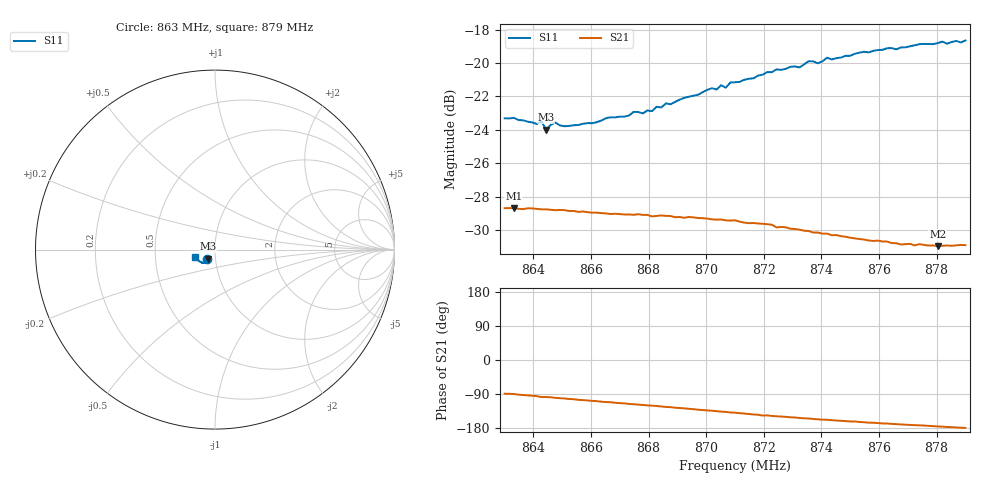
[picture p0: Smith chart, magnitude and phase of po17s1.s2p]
# HZ S RI R 50
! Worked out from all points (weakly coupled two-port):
!   101 points, 863 MHz to 879 MHz, reference 50 ohm
!   highest |S21| = -28.68 dB at 863.32 MHz (marker M1); lowest = -31.0 dB at 878.04 MHz (marker M2)
!   lowest |S11| = -24.0 dB at 864.44 MHz (marker M3), VSWR 1.13, Z = 46.1 - j4.62 ohm
!   |S11| at or under -10 dB: start of sweep to end of sweep
!   S12 and S22 are empty: the file has one direction only
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8.63e8  -0.0435 -0.0527  0.000669 -0.0368  0 0  0 0
8.6332e8  -0.0438 -0.0527  7.1e-05 -0.0368  0 0  0 0
8.6412e8  -0.0388 -0.0529  -0.00345 -0.0364  0 0  0 0
8.6428e8  -0.039 -0.0544  -0.00497 -0.0362  0 0  0 0
8.6444e8  -0.0386 -0.05  -0.00493 -0.0362  0 0  0 0
8.6476e8  -0.0375 -0.0547  -0.0062 -0.0357  0 0  0 0
8.6508e8  -0.0355 -0.0541  -0.00725 -0.0356  0 0  0 0
8.6572e8  -0.0344 -0.0561  -0.00982 -0.0346  0 0  0 0
8.6844e8  -0.0356 -0.0644  -0.0188 -0.0295  0 0  0 0
8.686e8  -0.036 -0.0666  -0.0195 -0.029  0 0  0 0
8.702e8  -0.0429 -0.0723  -0.0236 -0.0246  0 0  0 0
8.7036e8  -0.0424 -0.0717  -0.0241 -0.024  0 0  0 0
8.7052e8  -0.0451 -0.073  -0.0246 -0.0235  0 0  0 0
8.7068e8  -0.0453 -0.0711  -0.0247 -0.0231  0 0  0 0
8.7084e8  -0.0481 -0.073  -0.0253 -0.0224  0 0  0 0
8.71e8  -0.0479 -0.0733  -0.0256 -0.0222  0 0  0 0
8.7372e8  -0.0684 -0.0744  -0.0283 -0.0128  0 0  0 0
8.7388e8  -0.067 -0.0739  -0.0285 -0.0124  0 0  0 0
8.742e8  -0.0746 -0.072  -0.0286 -0.0117  0 0  0 0
8.7644e8  -0.0921 -0.0616  -0.0284 -0.00572  0 0  0 0
8.7804e8  -0.1035 -0.0493  -0.0282 -0.0023  0 0  0 0
8.79e8  -0.1102 -0.0386  -0.0285 -0.000441  0 0  0 0
